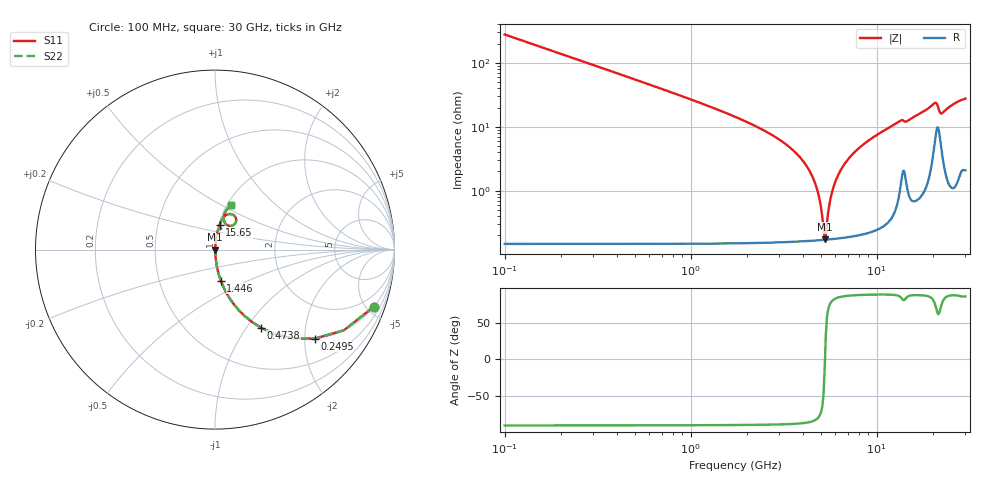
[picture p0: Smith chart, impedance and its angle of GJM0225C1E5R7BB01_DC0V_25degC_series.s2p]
!Murata Part Number: GJM0225C1E5R7BB01
!These Parameters are Measured in Series Mode Connection
!  o--ll--o
!Port1  Port2
!  o------o
!Operation Temp=25[degC], DC Bias Voltage=0[V]
!Freq. Start=100[MHz] Stop=30[GHz], 401[Steps]
!Data Generated on Feb 1, 2023
# Hz S RI R 50
!Freq.(Hz) S11(Real) S11(Imag) S21(Real) S21(Imag) S12(Real) S12(Imag) S22(Real) S22(Imag)
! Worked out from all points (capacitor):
!   401 points, 100 MHz to 30 GHz, reference 50 ohm
!   read as one part in series: C = 5.7 pF near 249.5 MHz
!   lowest |Z| = 174 mohm at 5.258 GHz (marker M1)
!   series resonance near 5.275 GHz, so ESL is about 160 pH
!   S11 on the Smith chart (normalised r, x): 100 MHz: 1.00, -5.58; 249.5 MHz: 1.00, -2.23; 473.8 MHz: 1.00, -1.17; 1.446 GHz: 1.00, -0.36; 15.65 GHz: 1.01, +0.28; 30 GHz: 1.04, +0.55
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1e8  0.8861 -0.3174  0.1139 0.3174  0.1139 0.3174  0.8861 -0.3174
2.495e8  0.5549 -0.4963  0.4451 0.4963  0.4451 0.4963  0.5549 -0.4963
4.7375e8  0.2553 -0.4348  0.7447 0.4348  0.7447 0.4348  0.2553 -0.4348
8.475e8  0.0945 -0.2902  0.9055 0.2902  0.9055 0.2902  0.0945 -0.2902
1.4455e9  0.0323 -0.1727  0.9677 0.1727  0.9677 0.1727  0.0323 -0.1727
4.21125e9  0.0022 -0.024  0.9978 0.024  0.9978 0.024  0.0022 -0.024
4.7345e9  0.0018 -0.0115  0.9982 0.0115  0.9982 0.0115  0.0018 -0.0115
5.10825e9  0.0017 -0.0034  0.9983 0.0034  0.9983 0.0034  0.0017 -0.0034
5.25775e9  0.0017 -0.000342  0.9983 0.000342  0.9983 0.000342  0.0017 -0.000342
5.40725e9  0.00172 0.00263  0.9983 -0.00263  0.9983 -0.00263  0.00172 0.00263
5.6315e9  0.00178 0.00695  0.9982 -0.00695  0.9982 -0.00695  0.00178 0.00695
5.85575e9  0.00188 0.0111  0.9981 -0.0111  0.9981 -0.0111  0.00188 0.0111
6.60325e9  0.00241 0.0241  0.9976 -0.0241  0.9976 -0.0241  0.00241 0.0241
7.94875e9  0.00402 0.0449  0.996 -0.0449  0.996 -0.0449  0.00402 0.0449
1.01165e10  0.00813 0.075  0.9919 -0.075  0.9919 -0.075  0.00813 0.075
1.505e10  0.0241 0.1261  0.9759 -0.1261  0.9759 -0.1261  0.0241 0.1261
1.5648e10  0.0256 0.1352  0.9744 -0.1352  0.9744 -0.1352  0.0256 0.1352
2.005825e10  0.0751 0.1977  0.9249 -0.1977  0.9249 -0.1977  0.0751 0.1977
2.08805e10  0.1126 0.1828  0.8874 -0.1828  0.8874 -0.1828  0.1126 0.1828
2.215125e10  0.0692 0.1357  0.9308 -0.1357  0.9308 -0.1357  0.0692 0.1357
2.50665e10  0.0531 0.1991  0.9469 -0.1991  0.9469 -0.1991  0.0531 0.1991
3e10  0.0874 0.2471  0.9126 -0.2471  0.9126 -0.2471  0.0874 0.2471
